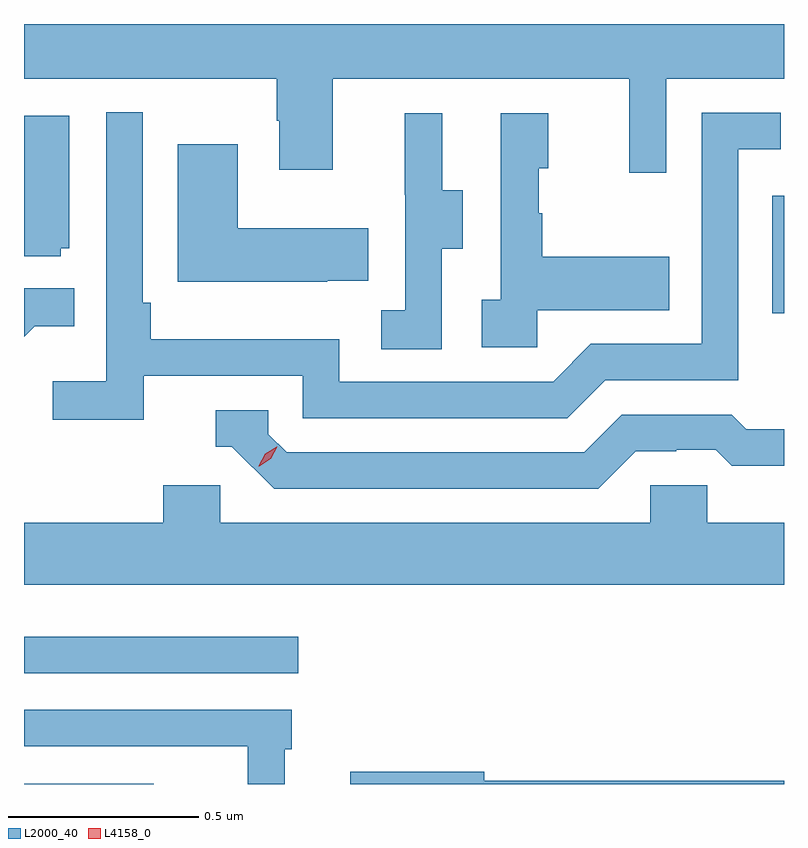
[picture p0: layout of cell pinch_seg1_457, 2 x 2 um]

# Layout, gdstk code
import gdstk
lib = gdstk.Library(unit=1e-6, precision=1e-09)
def R(c, l, rs):  # rectangles x0, y0, x1, y1
    for r in rs: c.add(gdstk.rectangle(r[:2], r[2:], *l))
def P(c, l, *ps):  # polygons
    for p in ps: c.add(gdstk.Polygon(p, *l))
L2000_40 = (2000, 40)
L4158_0 = (4158, 0)

pinch_seg1_457 = lib.new_cell('pinch_seg1_457')
R(pinch_seg1_457, L2000_40, [(982.787,521.904,983.128,521.905), (982.787,522.195,983.509,522.292), (984.756,523.143,984.787,523.452)])
P(pinch_seg1_457, L2000_40, [(984.477,523.76),(984.787,523.76),(984.787,523.904),(982.787,523.904),(982.787,523.76),(983.452,523.76),(983.452,523.649),(983.459,523.649),(983.459,523.52),(983.599,523.52),(983.599,523.76),(984.38,523.76),(984.38,523.512),(984.477,523.512)],
  [(983.102,522.978),(983.52,522.978),(983.52,522.867),(984.217,522.867),(984.316,522.966),(984.666,522.966),(984.666,523.575),(984.779,523.575),(984.779,523.671),(984.57,523.671),(984.57,523.062),(984.279,523.062),(984.18,522.963),(983.616,522.963),(983.616,523.075),(983.12,523.075),(983.12,523.171),(983.1,523.171),(983.1,523.672),(983.004,523.672),(983.004,522.964),(982.863,522.964),(982.863,522.862),(983.102,522.862)],
  [(983.886,523.312),(983.941,523.312),(983.941,523.467),(983.887,523.467),(983.887,523.669),(983.789,523.669),(983.789,523.455),(983.79,523.455),(983.79,523.151),(983.727,523.151),(983.727,523.048),(983.886,523.048)],
  [(984.138,523.151),(984.485,523.151),(984.485,523.291),(984.151,523.291),(984.151,523.406),(984.141,523.406),(984.141,523.524),(984.166,523.524),(984.166,523.669),(984.042,523.669),(984.042,523.178),(983.991,523.178),(983.991,523.053),(984.138,523.053)],
  [(982.884,523.314),(982.906,523.314),(982.906,523.663),(982.787,523.663),(982.787,523.293),(982.884,523.293)],
  [(983.585,523.229),(983.693,523.229),(983.693,523.366),(983.35,523.366),(983.35,523.588),(983.192,523.588),(983.192,523.226),(983.585,523.226)],
  [(982.815,523.109),(982.919,523.109),(982.919,523.208),(982.787,523.208),(982.787,523.081)],
  [(984.397,522.78),(984.504,522.78),(984.504,522.783),(984.607,522.783),(984.649,522.741),(984.787,522.741),(984.787,522.837),(984.688,522.837),(984.649,522.876),(984.36,522.876),(984.261,522.777),(983.478,522.777),(983.43,522.825),(983.43,522.888),(983.291,522.888),(983.291,522.792),(983.334,522.792),(983.445,522.681),(984.298,522.681)],
  [(984.787,522.592),(984.585,522.592),(984.585,522.69),(984.435,522.69),(984.435,522.592),(983.304,522.592),(983.304,522.69),(983.153,522.69),(983.153,522.592),(982.787,522.592),(982.787,522.428),(984.787,522.428)],
  [(983.473,521.996),(983.492,521.996),(983.492,522.099),(982.787,522.099),(982.787,522.003),(983.376,522.003),(983.376,521.904),(983.473,521.904)],
  [(984.787,521.912),(983.998,521.912),(983.998,521.936),(983.646,521.936),(983.646,521.904),(984.787,521.904)])
P(pinch_seg1_457, L4158_0, [(983.405,522.74),(983.405,522.741),(983.422,522.773),(983.452,522.792),(983.453,522.792),(983.453,522.792),(983.436,522.76),(983.406,522.74)])

lib.write_gds('pinch_seg1_457.gds')
